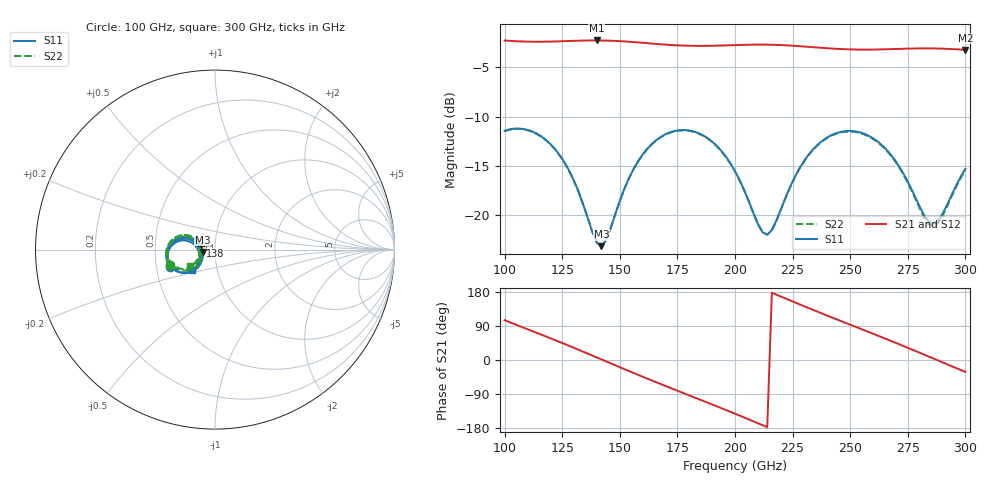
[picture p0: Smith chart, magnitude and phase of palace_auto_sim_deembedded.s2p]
! Created with skrf 1.11.0 (http://scikit-rf.org).
# GHz S DB R 50.0
!freq dBS11 angS11 dBS21 angS21 dBS12 angS12 dBS22 angS22
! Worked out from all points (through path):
!   101 points, 100 GHz to 300 GHz, reference 50 ohm
!   highest |S21| = -2.27 dB at 140 GHz (marker M1); lowest = -3.2 dB at 300 GHz (marker M2)
!   group delay of S21, straight-line fit = 6.9 ps
!   lowest |S11| = -23.1 dB at 142 GHz (marker M3), VSWR 1.15, Z = 43.6 - j1.21 ohm
!   |S11| at or under -10 dB: start of sweep to end of sweep
!   |S22| runs from -23.1 to -11.2 dB; largest |S21 - S12| = 1.3e-13
!   S11 on the Smith chart (normalised r, x): 100 GHz: 0.59, -0.13; 138 GHz: 0.85, +0.04; 300 GHz: 0.75, -0.18
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100  -11.43 -158.5  -2.28 105.2  -2.28 105.2  -11.47 -161.1
108  -11.24 -173.5  -2.38 85.9  -2.38 85.9  -11.28 -176.4
116  -12.01 172.0  -2.40 66.7  -2.40 66.7  -12.05 169.0
126  -14.64 157.0  -2.34 42.3  -2.34 42.3  -14.68 153.7
134  -18.82 154.8  -2.29 22.2  -2.29 22.2  -18.84 151.4
138  -21.62 165.5  -2.27 11.9  -2.27 11.9  -21.63 162.0
140  -22.74 176.8  -2.27 6.8  -2.27 6.8  -22.75 173.2
142  -23.13 -168.5  -2.28 1.6  -2.28 1.6  -23.12 -172.3
154  -16.22 -134.2  -2.40 -29.2  -2.40 -29.2  -16.25 -138.5
168  -12.02 -152.7  -2.66 -64.1  -2.66 -64.1  -12.06 -157.3
184  -11.66 179.8  -2.82 -102.6  -2.82 -102.6  -11.70 174.8
200  -15.52 158.5  -2.75 -141.7  -2.75 -141.7  -15.55 153.2
210  -20.91 171.0  -2.70 -167.0  -2.70 -167.0  -20.91 165.3
214  -21.96 -166.9  -2.70 -177.3  -2.70 -177.3  -21.96 -172.9
224  -17.07 -136.1  -2.79 157.1  -2.79 157.1  -17.12 -142.5
234  -13.28 -143.6  -2.96 132.0  -2.96 132.0  -13.34 -150.2
250  -11.44 -168.4  -3.18 93.2  -3.18 93.2  -11.51 -175.5
258  -11.93 178.9  -3.20 74.0  -3.20 74.0  -12.01 171.5
268  -13.96 165.8  -3.15 49.6  -3.15 49.6  -14.05 158.0
278  -18.03 164.9  -3.09 24.6  -3.09 24.6  -18.19 156.6
286  -20.86 -167.4  -3.08 4.3  -3.08 4.3  -21.12 -175.3
300  -15.27 -138.7  -3.23 -31.3  -3.23 -31.3  -15.39 -146.5
